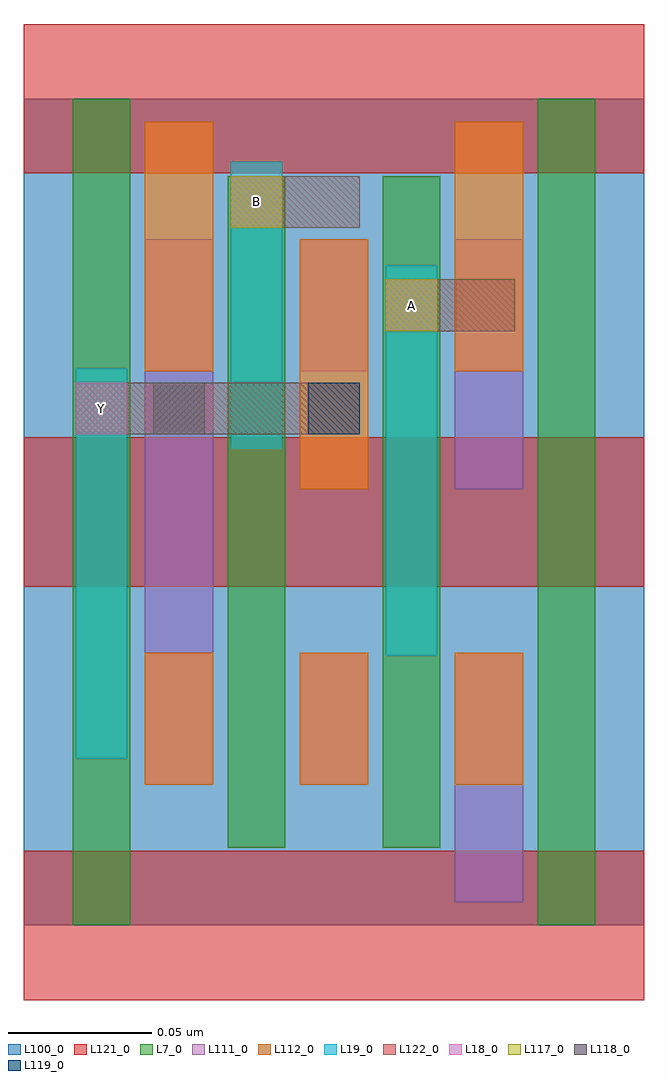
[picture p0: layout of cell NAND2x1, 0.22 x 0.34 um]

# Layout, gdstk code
import gdstk
lib = gdstk.Library(unit=1e-6, precision=2.5e-10)
def R(c, l, rs):  # rectangles x0, y0, x1, y1
    for r in rs: c.add(gdstk.rectangle(r[:2], r[2:], *l))
def A(c, l, x, y, w, h, nx, ny, dx, dy):  # array of equal rectangles
    R(c, l, [(x+i*dx, y+j*dy, x+i*dx+w, y+j*dy+h) for i in range(nx) for j in range(ny)])
L7_0 = (7, 0)
L18_0 = (18, 0)
L19_0 = (19, 0)
L100_0 = (100, 0)
L111_0 = (111, 0)
L112_0 = (112, 0)
L117_0 = (117, 0)
L118_0 = (118, 0)
L119_0 = (119, 0)
L121_0 = (121, 0)
L122_0 = (122, 0)

nand2x1 = lib.new_cell('NAND2x1')
R(nand2x1, L7_0, [(0.017,0,0.037,0.144), (0.179,0,0.199,0.144), (0.071,0.027,0.091,0.144), (0.125,0.027,0.145,0.144), (0.017,0.144,0.037,0.288), (0.071,0.144,0.091,0.261), (0.125,0.144,0.145,0.261), (0.179,0.144,0.199,0.288)])
R(nand2x1, L18_0, [(0.018,0.171,0.036,0.189), (0.126,0.207,0.144,0.225), (0.072,0.243,0.09,0.261)])
R(nand2x1, L19_0, [(0.018,0.058,0.036,0.194), (0.126,0.094,0.144,0.23), (0.072,0.166,0.09,0.266)])
R(nand2x1, L100_0, [(0,0,0.216,0.288)])
R(nand2x1, L111_0, [(0.15,0.008,0.174,0.095), (0.042,0.049,0.066,0.144), (0.096,0.049,0.12,0.095), (0.042,0.144,0.066,0.239), (0.15,0.152,0.174,0.239), (0.096,0.193,0.12,0.239)])
A(nand2x1, L112_0, 0.042, 0.049, 0.024, 0.046, 3, 1, 0.054, 0)
R(nand2x1, L112_0, [(0.096,0.152,0.12,0.239), (0.042,0.193,0.066,0.28), (0.15,0.193,0.174,0.28)])
R(nand2x1, L117_0, [(0.126,0.207,0.144,0.225), (0.072,0.243,0.09,0.261)])
R(nand2x1, L118_0, [(0.045,0.171,0.063,0.189)])
R(nand2x1, L119_0, [(0.099,0.171,0.117,0.189)])
A(nand2x1, L121_0, 0, -0.026, 0.216, 0.052, 1, 3, 0, 0.144)
R(nand2x1, L122_0, [(0.018,0.171,0.117,0.189), (0.126,0.207,0.171,0.225), (0.072,0.243,0.117,0.261)])
nand2x1.add(gdstk.Label('Y', (0.027,0.18), layer=19, texttype=251))
nand2x1.add(gdstk.Label('B', (0.081,0.252), layer=19, texttype=251))
nand2x1.add(gdstk.Label('A', (0.135,0.216), layer=19, texttype=251))

lib.write_gds('NAND2x1.gds')
